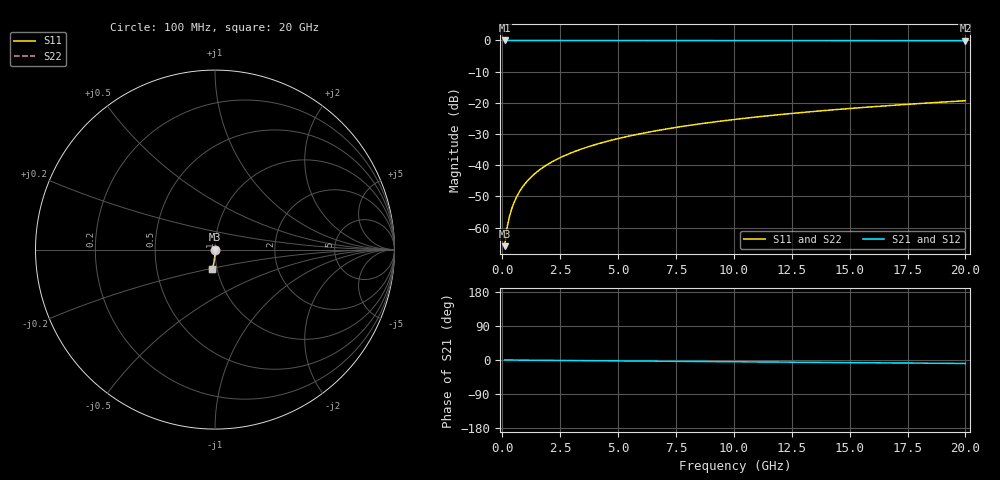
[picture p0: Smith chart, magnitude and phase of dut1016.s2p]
! Touchstone file exported from HFSS 2026.1.0
!  File:  C:/ffzhzh/LocalFiles/Ansys_Project_Files/temp_train_TSV_1016_1783188748_18472.aedt
!  Generated:  02:13:49 AM Jul  5, 2026
!  Design:  TSV
!  Project:  temp_train_TSV_1016_1783188748_18472
! Variables:
!  h_bsmrdl = 2um
!  h_ox = 20um
!  h_rdl = 5um
!  h_sub = 72.85um
!  h_tmrdl = 5um
!  h_tsv = 72.85um
!  h_via = 3um
!  l_bsmrdl = 300um
!  l_sub = 416.16um
!  l_tmrdl = 200um
!  m_sub = 200um
!  pitch = 18.85um
!  r_tsv = 8.08um
!  s_tmrdl = 10um
!  w_bsmrdl = 18um
!  w_sub = 500um
!  w_tmrdl = 12um
!  x_tsv_center1 = 206um
!  x_tsv_center2 = 524um
!  x_tsv_center3 = 736um
!  x_tsv_center4 = 1054um
!  x_tsv_center5 = 1266um
!  x_tsv_center6 = 1584um
# GHz S MA R 50.000000
! Terminal data exported
! Port[1] = TSV1_1_T1
! Port[2] = TSV1_1_T2
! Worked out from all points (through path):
!   200 points, 100 MHz to 20 GHz, reference 50 ohm
!   highest |S21| = 0.00 dB at 100 MHz (marker M1); lowest = -0.1 dB at 20 GHz (marker M2)
!   group delay of S21, straight-line fit = 1.27 ps
!   lowest |S11| = -66.0 dB at 100 MHz (marker M3), VSWR 1.00, Z = 50 - j0.0468 ohm
!   |S11| at or under -10 dB: start of sweep to end of sweep
!   |S22| runs from -66.0 to -19.3 dB; largest |S21 - S12| = 4e-15
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0.1  0.0005036 -68.2  0.9998 -0.1  0.9998 -0.1  0.0005036 -68.2
! Gamma 0 0 0 0
! Port Impedance 50 0 50 0
0.2  0.0009686 -77.2  0.9998 -0.1  0.9998 -0.1  0.0009686 -77.2
0.3  0.001458 -80.0  0.9997 -0.1  0.9997 -0.1  0.001458 -80.0
0.4  0.001965 -81.4  0.9997 -0.2  0.9997 -0.2  0.001965 -81.4
0.5  0.002483 -82.3  0.9997 -0.2  0.9997 -0.2  0.002483 -82.3
0.7  0.003542 -83.7  0.9996 -0.3  0.9996 -0.3  0.003542 -83.7
0.8  0.004078 -84.2  0.9996 -0.4  0.9996 -0.4  0.004078 -84.2
1  0.005152 -85.1  0.9995 -0.5  0.9995 -0.5  0.005152 -85.1
1.2  0.006228 -85.8  0.9995 -0.6  0.9995 -0.6  0.006228 -85.8
1.4  0.007304 -86.3  0.9994 -0.7  0.9994 -0.7  0.007304 -86.3
1.7  0.008916 -87.0  0.9994 -0.8  0.9994 -0.8  0.008916 -87.0
2  0.01053 -87.5  0.9993 -0.9  0.9993 -0.9  0.01053 -87.5
2.7  0.01429 -88.4  0.9992 -1.3  0.9992 -1.3  0.01429 -88.4
3.5  0.01861 -89.1  0.999 -1.6  0.999 -1.6  0.01861 -89.1
4.2  0.0224 -89.7  0.9988 -2.0  0.9988 -2.0  0.0224 -89.7
5  0.02674 -90.2  0.9986 -2.3  0.9986 -2.3  0.02674 -90.2
6.8  0.03654 -91.3  0.9981 -3.2  0.9981 -3.2  0.03654 -91.3
8.3  0.04472 -92.1  0.9977 -3.8  0.9977 -3.8  0.04472 -92.1
10.1  0.05454 -93.1  0.997 -4.7  0.997 -4.7  0.05454 -93.1
13.4  0.07249 -94.8  0.9957 -6.2  0.9957 -6.2  0.07249 -94.8
16.7  0.09036 -96.5  0.994 -7.7  0.994 -7.7  0.09036 -96.5
20  0.1081 -98.0  0.992 -9.2  0.992 -9.2  0.1081 -98.0
